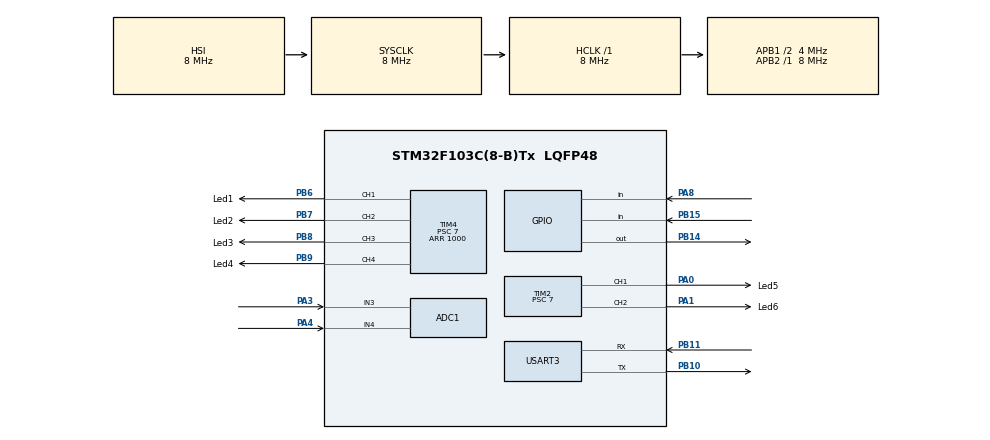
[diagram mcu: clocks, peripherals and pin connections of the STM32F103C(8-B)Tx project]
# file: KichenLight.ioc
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ADC1.Channel-3\#ChannelInjectedConversion=ADC_CHANNEL_3
ADC1.Channel-4\#ChannelInjectedConversion=ADC_CHANNEL_4
ADC1.ContinuousConvMode=DISABLE
ADC1.EnableInjectedConversion=ENABLE
ADC1.EnableRegularConversion=DISABLE
ADC1.InjNumberOfConversion=2
ADC1.InjectedOffset-3\#ChannelInjectedConversion=0
ADC1.InjectedOffset-4\#ChannelInjectedConversion=0
ADC1.InjectedRank-3\#ChannelInjectedConversion=1
ADC1.InjectedRank-4\#ChannelInjectedConversion=2
ADC1.SamplingTime-3\#ChannelInjectedConversion=ADC_SAMPLETIME_28CYCLES_5
ADC1.SamplingTime-4\#ChannelInjectedConversion=ADC_SAMPLETIME_28CYCLES_5
ADC1.master=1
Mcu.Family=STM32F1
Mcu.Name=STM32F103C(8-B)Tx
Mcu.Package=LQFP48
NVIC.ADC1_2_IRQn=true\:0\:0\:false\:false\:true\:true\:true\:true
NVIC.PriorityGroup=NVIC_PRIORITYGROUP_4
NVIC.USART3_IRQn=true\:0\:0\:false\:false\:true\:true\:true\:true
PA0-WKUP.GPIO_Label=Led5
PA0-WKUP.GPIO_Speed=GPIO_SPEED_FREQ_MEDIUM
PA0-WKUP.Signal=S_TIM2_CH1_ETR
PA1.GPIO_Label=Led6
PA1.GPIO_Speed=GPIO_SPEED_FREQ_MEDIUM
PA1.Signal=S_TIM2_CH2
PA13.Mode=Serial_Wire
PA13.Signal=SYS_JTMS-SWDIO
PA14.Mode=Serial_Wire
PA14.Signal=SYS_JTCK-SWCLK
PA3.Signal=ADCx_IN3
PA4.Signal=ADCx_IN4
PA8.Signal=GPIO_Input
PB10.Mode=Asynchronous
PB10.Signal=USART3_TX
PB11.Mode=Asynchronous
PB11.Signal=USART3_RX
PB14.Signal=GPIO_Output
PB15.Signal=GPIO_Input
PB6.GPIO_Label=Led1
PB6.GPIO_Speed=GPIO_SPEED_FREQ_MEDIUM
PB6.Signal=S_TIM4_CH1
PB7.GPIO_Label=Led2
PB7.GPIO_Speed=GPIO_SPEED_FREQ_MEDIUM
PB7.Signal=S_TIM4_CH2
PB8.GPIO_Label=Led3
PB8.GPIO_Speed=GPIO_SPEED_FREQ_MEDIUM
PB8.Signal=S_TIM4_CH3
PB9.GPIO_Label=Led4
PB9.GPIO_Speed=GPIO_SPEED_FREQ_MEDIUM
PB9.Signal=S_TIM4_CH4
ProjectManager.HeapSize=0x200
ProjectManager.StackSize=0x400
ProjectManager.TargetToolchain=MDK-ARM V5.27
RCC.AHBFreq_Value=8000000
RCC.APB1CLKDivider=RCC_HCLK_DIV2
RCC.APB1Freq_Value=4000000
RCC.APB1TimFreq_Value=8000000
RCC.APB2Freq_Value=8000000
RCC.APB2TimFreq_Value=8000000
RCC.HCLKFreq_Value=8000000
RCC.PLLMUL=RCC_PLL_MUL9
RCC.SYSCLKFreq_VALUE=8000000
RCC.USBFreq_Value=36000000
SH.ADCx_IN3.0=ADC1_IN3,IN3
SH.ADCx_IN4.0=ADC1_IN4,IN4
SH.S_TIM2_CH1_ETR.0=TIM2_CH1,PWM Generation1 CH1
SH.S_TIM2_CH2.0=TIM2_CH2,PWM Generation2 CH2
SH.S_TIM4_CH1.0=TIM4_CH1,PWM Generation1 CH1
SH.S_TIM4_CH2.0=TIM4_CH2,PWM Generation2 CH2
SH.S_TIM4_CH3.0=TIM4_CH3,PWM Generation3 CH3
SH.S_TIM4_CH4.0=TIM4_CH4,PWM Generation4 CH4
TIM2.Channel-PWM\ Generation1\ CH1=TIM_CHANNEL_1
TIM2.Channel-PWM\ Generation2\ CH2=TIM_CHANNEL_2
TIM2.Channel-PWM\ Generation4\ CH4=TIM_CHANNEL_4
TIM2.Period=1000
TIM2.Prescaler=7
TIM4.Channel-PWM\ Generation1\ CH1=TIM_CHANNEL_1
TIM4.Channel-PWM\ Generation2\ CH2=TIM_CHANNEL_2
TIM4.Channel-PWM\ Generation3\ CH3=TIM_CHANNEL_3
TIM4.Channel-PWM\ Generation4\ CH4=TIM_CHANNEL_4
TIM4.Period=1000
TIM4.Prescaler=7
USART3.VirtualMode=VM_ASYNC
VP_CRC_VS_CRC.Mode=CRC_Activate
VP_TIM2_VS_ClockSourceINT.Mode=Internal
VP_TIM4_VS_ClockSourceINT.Mode=Internal
board=custom

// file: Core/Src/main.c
/* USER CODE BEGIN Header */
/**
  ******************************************************************************
  * @file           : main.c
  * @brief          : Main program body
  ******************************************************************************
  * @attention
  *
  * <h2><center>&copy; Copyright (c) 2022 STMicroelectronics.
  * All rights reserved.</center></h2>
  *
  * This software component is licensed by ST under BSD 3-Clause license,
  * the "License"; You may not use this file except in compliance with the
  * License. You may obtain a copy of the License at:
  *                        opensource.org/licenses/BSD-3-Clause
  *
  ******************************************************************************
  */
/* USER CODE END Header */
#include "main.h"

/* USER CODE BEGIN Includes */
#include "uart.h"
#include "command.h"
/* USER CODE END Includes */

/* USER CODE BEGIN PTD */
Time_struct						Time;
Led_struct 						Led;
MovSens_struct				MovSens;
//Light_Status_struct		Light_Status;
LuxData_struct				LuxData;

Power_struct Power;			//Статусы питания 220В

char ADC_compl_flag = 0;

/* USER CODE END PTD */

ADC_HandleTypeDef hadc1;

CRC_HandleTypeDef hcrc;

TIM_HandleTypeDef htim2;
TIM_HandleTypeDef htim4;

UART_HandleTypeDef huart3;

/* USER CODE BEGIN PV */
UART_HandleTypeDef *const Used_uart = &huart3;		//Выбор используемого UARTa

volatile uint32_t		ADC_Delay = 1000,
										Charger_LifeTime,
										LuxIntegry_Period = Lux_Data_Period;
uint16_t	Vbat[4] = { vBat_Norm, vBat_Norm, vBat_Norm, 0 },
					Vlsens[3];

//char firstByteWait=1; // признак ожидание первого байта
//uint8_t buf=0;
/* USER CODE END PV */

void SystemClock_Config(void);
static void MX_GPIO_Init(void);
static void MX_TIM4_Init(void);
static void MX_CRC_Init(void);
static void MX_ADC1_Init(void);
static void MX_TIM2_Init(void);
static void MX_USART3_UART_Init(void);

int main(void)
{
  /* USER CODE BEGIN 1 */
	//uint32_t 	i;
	uint8_t		Mode = 0,
						Mode_step = 0;

	uint8_t		ADC_Step = 0;
	uint8_t		MoveSensL = 0, MoveSensL_ = 0,	//Данные с датчиков текущие и предыдущие
						MoveSensR = 0, MoveSensR_ = 0;

	Time.Year = 2023;
	Time.Month = 1;
	Time.Day = 18;
	Time.Hour = 19;

	LuxIntegry_Period = Lux_Data_Period;
	LuxData.Pos = 0;
  /* USER CODE END 1 */

  /* MCU Configuration--------------------------------------------------------*/

  /* Reset of all peripherals, Initializes the Flash interface and the Systick. */
  HAL_Init();

  /* Configure the system clock */
  SystemClock_Config();

  /* Initialize all configured peripherals */
  MX_GPIO_Init();
  MX_TIM4_Init();
  MX_CRC_Init();
  MX_ADC1_Init();
  MX_TIM2_Init();
  MX_USART3_UART_Init();
  /* USER CODE BEGIN 2 */
	HAL_ADCEx_Calibration_Start(&hadc1);

	__HAL_TIM_ENABLE(&htim4);
	TIM_CCxChannelCmd(TIM4,TIM_CHANNEL_1,TIM_CCx_ENABLE);
	TIM_CCxChannelCmd(TIM4,TIM_CHANNEL_2,TIM_CCx_ENABLE);
	TIM_CCxChannelCmd(TIM4,TIM_CHANNEL_3,TIM_CCx_ENABLE);
	TIM_CCxChannelCmd(TIM4,TIM_CHANNEL_4,TIM_CCx_ENABLE);

	__HAL_TIM_ENABLE(&htim2);
	TIM_CCxChannelCmd(TIM2,TIM_CHANNEL_1,TIM_CCx_ENABLE);
	TIM_CCxChannelCmd(TIM2,TIM_CHANNEL_2,TIM_CCx_ENABLE);

	for(uint8_t i=0;i<Led_Ch_Cnt;i++)	//Nнициализация начальных значений яркостей Led
	{
		Led.Channel[i].Bright = 0;
		Led.Channel[i].Target_Bright = 0;
		Led.Channel[i].Step = 10;
		Led.Channel[i].Step_Delay = 25;
		//Led.Channel[i].Day_Bright = Fartuk_Bright_Day;
		//Led.Channel[i].Night_Bright = Fartuk_Bright_Night;
		Led.Channel[i].Delay = 0;
		Set_Led_Bright(i, Led.Channel[i].Bright);
	}

	Power.Status = 0;
	Power.ChangeFlag = 0;
	Power.Consumers = 0;
	Power.ChangeDelay = 0;

	UART_Rx_Start(Used_uart);
  /* USER CODE END 2 */

  /* Infinite loop */
  /* USER CODE BEGIN WHILE */
  while (1)		//~~~~~~~~~~~~~~~~~~~~~~~~~~~~~~~~~~~~~~~~~ Main cycle ~~~~~~~~~~~~~~~~~~~~~~~~~~~~~~~~~~~~~~~~~~~
  {
		//Обработчик часов
		if( Time.Tik ) Clock_Handler();

		//Обработчик UART
		UART_Rx_Handler();							//Обработчик полученного по UART буфера
		UART_Tx_Handler(Used_uart);			//Обработчик отправки кольцевого буфера

		//Запуск исполнителя команд получаемых по UART
		Command_Exec();

		//Обработчик вывода переменных для Debug
		if( Comm_Task & t_Debug )
		{	uint8_t ChangeFind = 0;
			static uint8_t _Mode = 0;
			static uint8_t _MSensL = 0;
			static uint8_t _MSensR = 0;
			static uint8_t _Consumers = 0;
			if( _Mode != Mode ) { _Mode = Mode; ChangeFind = 1; }
			if( _MSensL != MovSens.Channel[1].Detect ) { _MSensL = MovSens.Channel[1].Detect; ChangeFind = 1; }
			if( _MSensR != MovSens.Channel[0].Detect ) { _MSensR = MovSens.Channel[0].Detect; ChangeFind = 1; }
			if( _Consumers != Power.Consumers ) { _Consumers = Power.Consumers; ChangeFind = 1; }
			if( ChangeFind ) Debug_Show( _Mode, _MSensL, _MSensR, _Consumers );
		}

		//Обработчик вывода массива данных освещенности
		if( Comm_Task & t_LuxData_Show )
			if( LuxData_Show(LuxData.Data, Lux_Data_Len, LuxData.Pos) == 0 ) Comm_Task &= (uint32_t) ~t_LuxData_Show;			//Выключаем разовай вывод освещенности

		if( Comm_Task & t_Time_Show )
		{ Comm_Task &= (uint32_t) ~t_Time_Show;			//Выключаем разовый вывод времени
			Time_Show(Time.Year, Time.Month, Time.Day, Time.Hour, Time.Minute, Time.Second);
		}

		if( Comm_Task & t_Time_Set )
		{ Comm_Task &= (uint32_t) ~t_Time_Set;			//Выключаем разовую установку времени
			//if( isValid_DataTime ( ManualTime.Year
			Time_Set(ManualTime.Year, ManualTime.Month, ManualTime.Day, ManualTime.Hour, ManualTime.Minute, ManualTime.Second);
			Comm_Task |= t_Time_Show;									//Включаем разовый показ времени
		}

		//Обработчик изменения яркости Led
		for(uint8_t i=0;i<Led_Ch_Cnt;i++)	{ if( Led.Channel[i].Delay == 0 ) Led.Channel[i].Delay = Led_Prog_Exec(i); }
		//Принудительное изменение яркости по команде от UART
		if( ManualLedSw.Led_Nbr ) { Led.Channel[ ManualLedSw.Led_Nbr-1 ].Target_Bright = ManualLedSw.Value; ManualLedSw.Led_Nbr = 0; }

		//Обработка данных с датчиков -	-	-	-	-	-	-	-	-	-	-	-	-	-	-	-	-	-	-	-	-	-	-	-
		MoveSensL = SensL;	//Считываем состояние портов с датчиков движения
		MoveSensR = SensR;

		if( MoveSensL != MoveSensL_ )		//Если изменилось состояние с датчика
		{ MoveSensL_ = MoveSensL;
			if( MoveSensL == 1 )				//Датчик сработал
			{	MovSens.Channel[0].Detect = 1;
				MovSens.Channel[0].LifeTime = MovSens_Status_ON_Timeout;
			}
			//С момента завершения детекции движения начинаем отсчет LifeTime
			else MovSens.Channel[0].LifeTime = MovSens_Status_OFF_Timeout;
		}

		if(MoveSensR != MoveSensR_)		//Если изменилось состояние с датчика
		{ MoveSensR_ = MoveSensR;
			if( MoveSensR == 1 )				//Датчик сработал
			{	MovSens.Channel[1].Detect = 1;
				MovSens.Channel[1].LifeTime = MovSens_Status_ON_Timeout;
			}
			//С момента завершения детекции движения начинаем отсчет LifeTime
			else MovSens.Channel[1].LifeTime = MovSens_Status_OFF_Timeout;
		}

		//Обработчик сброса статуса срабатывания датчиков движения
		for( uint8_t i=0; i<Mov_Sens_Cnt; i++ )
			if( MovSens.Channel[i].LifeTime == 0 )
				MovSens.Channel[i].Detect >>= 1; //Обнуление
		// 	-	-	-	-	-	-	-	-	-	-	-	-	-	-	-	-	- -	-	-	-	-	-	-	-	-	-	-	-	-	-	-	-	-	-	-	-

		//Обработчик включения/выключения питания 220В - - - - - - - - - - - - - - - -
		if (( Power.Status == 1 )&&( Power.Consumers == 0 )&&( Power.ChangeDelay == 0 ))
		{	//Параметры выключения
			Power.Status = 0;
			Power.ChangeFlag = 1;
			Power.ChangeDelay = Delay_Normal_Power_OFF;
		}

		if (( Power.Status == 0 )&&( Power.Consumers ))
		{	//Параметры включения
			Power.Status = 1;
			Power.ChangeFlag = 1;
			Power.ChangeDelay = 0;
		}

		//Обработчик статуса питания от сети
		if((Power.ChangeFlag == 1)&&( Power.ChangeDelay == 0))
		{	Power.ChangeFlag = 0;
			if(Power.Status == 1)	{ Relay_ON; Power.RelayState = 1; }
			else									{ Relay_OFF; Power.RelayState = 0; }
		} // 	-	-	-	-	-	-	-	-	-	-	-	-	-	-	-	-	- -	-	-	-	-	-	-	-	-	-	-	-	-	-	-	-	-	-	-	-

		//Обработчик АЦП (считывание показаний Напряжения батареи и датчика света)
		if( ADC_Delay == 0 )
		{ switch(ADC_Step)
			{
				case 0:	//Запуск измерения
				{	HAL_ADCEx_InjectedStart_IT(&hadc1);
					ADC_Delay = 10;
					ADC_Step++;
					break;
				}
				case 1:	//Ожидние окончания измерения
				{	static char cntRetry;
					if( ADC_compl_flag )	{ ADC_compl_flag = 0; ADC_Step++;	}
					else
					{
						if(cntRetry++ <= 10)	{ ADC_Delay = 10; }
						else
						{	//Ошибка, не успевыет сделаться преобразования
							cntRetry = 0;
							ADC_Step = 0;
							ADC_Delay = 100;
							HAL_ADCEx_InjectedStop_IT(&hadc1);
						}
					}
					break;
				}
				case 2:	//Измерения готовы
				{ Vbat[3]	= HAL_ADCEx_InjectedGetValue(&hadc1, ADC_INJECTED_RANK_1);
					Vlsens[2] = 	HAL_ADCEx_InjectedGetValue(&hadc1, ADC_INJECTED_RANK_2);
					ADC_Step = 0;
					ADC_Delay = 1990;//60000;
					HAL_ADCEx_InjectedStop_IT(&hadc1);
					//Вывод значений в UART
					if(Comm_Task & t_Vbat_Show) Vbat_Show(Vbat[3]);
					if(Comm_Task & t_Vsolar_Show) Vsolar_Show(Vlsens[2]);
					break;
				}
			}
		} // 	-	-	-	-	-	-	-	-	-	-	-	-	-	-	-	-	- -	-	-	-	-	-	-	-	-	-	-	-	-	-	-	-	-	-	-	-

		//Обработчик контроллера заряда батареи - - - - - - - - - - - - - - - - - - - -
		if( Vbat[3] )
		{	//Вычисляем усредненное значение для Vbat[0], сдвигаем старые значения
			for(uint16_t i=1; i<=3; i++)
			{ Vbat[0] >>= 1;
				Vbat[0] += Vbat[i]>>1;
			}
			Vbat[1] = Vbat[2];
			Vbat[2] = Vbat[3];
			Vbat[3] = 0;

			if( Vbat[0] < vBat_Low )
			{	//Включаем режим заряда батареии
				Power.Consumers |= pc_ChargeBattery;							//Включаем флаг зарядка батареи
				Charger_LifeTime = Charge_Time;
			}

			if( Charger_LifeTime == 0 )
			{ //Выключаем режим заряда батареии
				Power.Consumers &= (uint8_t) ~pc_ChargeBattery;	//Выключаем флаг зарядка батареи
			}
			else if( Vbat[0] >= vBat_High ) Charger_LifeTime = 0;	//Если батарея заряжена ускоряем окончание зарядки
		} // 	-	-	-	-	-	-	-	-	-	-	-	-	-	-	-	-	- -	-	-	-	-	-	-	-	-	-	-	-	-	-	-	-	-	-	-	-

		//Обработчик данных с датчика освещения
		if( Vlsens[2] )
		{	//Вычисляем усредненное значение для Vlsens[0], сдвигаем старые значения
			Vlsens[0] >>= 1;	Vlsens[0] += Vlsens[1]>>1;
			Vlsens[0] >>= 1;	Vlsens[0] += Vlsens[2]>>1;
			Vlsens[1] = Vlsens[2];
			Vlsens[2] = 0;

			LuxHandler(Vlsens[0]);			//Обработчик значений освещенности

			//Обработчик смены режина работы День/Ночь
			if(( Vlsens[0] < vLightSens_Night ) && ( Mode == 1 )) Mode = 2;
			if(( Vlsens[0] > vLightSens_Day ) && ( Mode == 3 ))		Mode = 4;
			if(( Vlsens[0] > vLightSens_Sun ) && ( Mode == 1 ))		Mode = 5;
			if(( Vlsens[0] < (vLightSens_Sun - 100) ) && ( Mode == 5 ))	Mode = 4;

		} // 	-	-	-	-	-	-	-	-	-	-	-	-	-	-	-	-	- -	-	-	-	-	-	-	-	-	-	-	-	-	-	-	-	-	-	-	-

		switch(Mode)
		{
			case 0:		//Start Mode
			{
				switch(Mode_step)
				{ case 0:
					{ Mode_step++;
						Mode_step = 10;
						break;
					}
					case 10:
					{ Mode_step = 0;
						Mode++;
						break;
					}
				}
				break;
			}
			case 1:		//Day Mode
			{	//Фартук = - - -
				if((Power.Consumers & pc_Fartuk) == 0 )			//Если фартук выключен
				{	//Если сработали оба датчика движения - включаем свет на фартуке
					if((MovSens.Channel[0].Detect == 1) && (MovSens.Channel[1].Detect == 1))
					{	Power.Consumers |= pc_Fartuk;							//Включаем флаг фартук
						Led.Channel[0].Target_Bright = Fartuk_Bright_Day;
						Led.Channel[1].Target_Bright = Fartuk_Bright_Day;
						if( Power.Status == 0 ) Led.Channel[0].Delay = Relay_ON_Delay;
						else										Led.Channel[0].Delay = 0;
						Led.Channel[1].Delay = Led.Channel[0].Delay;
					}
				}
				else	//Поддержание работы освещения фартука
				{ if((MovSens.Channel[0].Detect == 0) && (MovSens.Channel[1].Detect == 0))
					{ //Начинаем выключение фартука
						Led.Channel[0].Target_Bright = 0;
						Led.Channel[1].Target_Bright = 0;
						Power.Consumers &= (uint8_t) ~pc_Fartuk;	//Выключаем флаг фартук
					}
				}
				//Подсветка пола = - - -
				if((Power.Consumers & pc_Floor) == 0 )			//Если подсветка пола выключена
				{	//Если сработали оба датчика движения - включаем свет подсветки пола
					if((MovSens.Channel[0].Detect == 1) && (MovSens.Channel[1].Detect == 1))
					{	Power.Consumers |= pc_Floor;						//Включаем флаг подсветки пола
						Led.Channel[2].Target_Bright = Floor_Bright_Day;
						Led.Channel[3].Target_Bright = Floor_Bright_Day;
						if( Power.Status == 0 ) Led.Channel[2].Delay = Relay_ON_Delay;
						else										Led.Channel[2].Delay = 0;
						Led.Channel[3].Delay = Led.Channel[2].Delay;
					}
				}
				else	//Поддержание работы подсветки пола
				{ if((MovSens.Channel[0].Detect == 0) && (MovSens.Channel[1].Detect == 0))
					{ //Начинаем выключение подсветки пола
						Led.Channel[2].Target_Bright = 0;
						Led.Channel[3].Target_Bright = 0;
						Led.Channel[2].Delay = Floor_Off_Delay;
						Led.Channel[3].Delay = Floor_Off_Delay;
						Power.Consumers &= (uint8_t) ~pc_Floor;	//Выключаем флаг подсветки пола
					}
				}
				break;
			}
			case 2:		//Переход в Night Mode
			{ if( Power.Consumers & pc_Fartuk )			//Если фартук включен
				{ Led.Channel[0].Target_Bright = Fartuk_Bright_Night;
					Led.Channel[1].Target_Bright = Fartuk_Bright_Night;
				}
				if( Power.Consumers & pc_Floor )			//Если подсветка пола включена
				{ Led.Channel[2].Target_Bright = Floor_Bright_Night;
					Led.Channel[3].Target_Bright = Floor_Bright_Night;
				}
				Mode++;
				break;
			}
			case 3:		//Night Mode
			{ //Фартук = - - -
				if((Power.Consumers & pc_Fartuk) == 0 )			//Если фартук выключен
				{	//Если сработали оба датчика движения - включаем свет на фартуке
					if((MovSens.Channel[0].Detect == 1) && (MovSens.Channel[1].Detect == 1))
					{	Power.Consumers |= pc_Fartuk;							//Включаем флаг фартук
						Led.Channel[0].Target_Bright = Fartuk_Bright_Night;
						Led.Channel[1].Target_Bright = Fartuk_Bright_Night;
						if( Power.Status == 0 ) Led.Channel[0].Delay = Relay_ON_Delay;
						else										Led.Channel[0].Delay = 0;
						Led.Channel[1].Delay = Led.Channel[0].Delay;
					}
				}
				else	//Поддержание работы освещения фартука
				{ if((MovSens.Channel[0].Detect == 0) && (MovSens.Channel[1].Detect == 0))
					{	//Начинаем выключение фартука
						Led.Channel[0].Target_Bright = 0;
						Led.Channel[1].Target_Bright = 0;
						Power.Consumers &= (uint8_t) ~pc_Fartuk;	//Выключаем флаг фартук
					}
				}
				//Подсветка пола = - - -
				if((Power.Consumers & pc_Floor) == 0 )			//Если подсветка пола выключена
				{	//Если сработали оба датчика движения - включаем свет подсветки пола
					if((MovSens.Channel[0].Detect == 1) && (MovSens.Channel[1].Detect == 1))
					{	Power.Consumers |= pc_Floor;						//Включаем флаг подсветки пола
						Led.Channel[2].Target_Bright = Floor_Bright_Night;
						Led.Channel[3].Target_Bright = Floor_Bright_Night;
						if( Power.Status == 0 ) Led.Channel[2].Delay = Relay_ON_Delay;
						else										Led.Channel[2].Delay = 0;
						Led.Channel[3].Delay = Led.Channel[2].Delay;
					}
				}
				else	//Поддержание работы подсветки пола
				{ if((MovSens.Channel[0].Detect == 0) && (MovSens.Channel[1].Detect == 0))
					{ //Начинаем выключение подсветки пола
						Led.Channel[2].Target_Bright = 0;
						Led.Channel[3].Target_Bright = 0;
						Led.Channel[2].Delay = Floor_Off_Delay;
						Led.Channel[3].Delay = Floor_Off_Delay;
						Power.Consumers &= (uint8_t) ~pc_Floor;	//Выключаем флаг подсветки пола
					}
				}
				break;
			}
			case 4:		//Переход в Day Mode
			{ if( Power.Consumers & pc_Fartuk )			//Если фартук включен
				{
					Led.Channel[0].Target_Bright = Fartuk_Bright_Day;
					Led.Channel[1].Target_Bright = Fartuk_Bright_Day;
				}
				if( Power.Consumers & pc_Floor )			//Если подсветка пола включена
				{
					Led.Channel[2].Target_Bright = Floor_Bright_Day;
					Led.Channel[3].Target_Bright = Floor_Bright_Day;
				}
				Mode = 1;
				break;
			}
			case 5:		//Sun mode
			{ if( Power.Consumers & pc_Fartuk ) 					//Если фартук включен
					if((MovSens.Channel[0].Detect == 0) && (MovSens.Channel[1].Detect == 0))
					{	//Начинаем выключение фартука
						Led.Channel[0].Target_Bright = 0;
						Led.Channel[1].Target_Bright = 0;
						Power.Consumers &= (uint8_t) ~pc_Fartuk;	//Выключаем флаг фартук
					}
				if( Power.Consumers & pc_Floor )						//Если подсветка пола включена
					if((MovSens.Channel[0].Detect == 0) && (MovSens.Channel[1].Detect == 0))
					{	//Начинаем выключение подсветки пола
						Led.Channel[2].Target_Bright = 0;
						Led.Channel[3].Target_Bright = 0;
						Power.Consumers &= (uint8_t) ~pc_Floor;	//Выключаем флаг подсветки пола
					}
				break;
			}
		}

    /* USER CODE END WHILE */

    /* USER CODE BEGIN 3 */
  }		//~~~~~~~~~~~~~~~~~~~~~~~~~~~~~~~~~~~~~~~~~~~~~~~~~~~~~~~~~~~~~~~~~~~~~~~~~~~~~~~~~~~~~~~~~~~~~~~~~~~~~~~~
  /* USER CODE END 3 */
}

void SystemClock_Config(void)
{
  RCC_OscInitTypeDef RCC_OscInitStruct = {0};
  RCC_ClkInitTypeDef RCC_ClkInitStruct = {0};
  RCC_PeriphCLKInitTypeDef PeriphClkInit = {0};

  /** Initializes the RCC Oscillators according to the specified parameters
  * in the RCC_OscInitTypeDef structure.
  */
  RCC_OscInitStruct.OscillatorType = RCC_OSCILLATORTYPE_HSI;
  RCC_OscInitStruct.HSIState = RCC_HSI_ON;
  RCC_OscInitStruct.HSICalibrationValue = RCC_HSICALIBRATION_DEFAULT;
  RCC_OscInitStruct.PLL.PLLState = RCC_PLL_NONE;
  if (HAL_RCC_OscConfig(&RCC_OscInitStruct) != HAL_OK)
  {
    Error_Handler();
  }

  /** Initializes the CPU, AHB and APB buses clocks
  */
  RCC_ClkInitStruct.ClockType = RCC_CLOCKTYPE_HCLK|RCC_CLOCKTYPE_SYSCLK
                              |RCC_CLOCKTYPE_PCLK1|RCC_CLOCKTYPE_PCLK2;
  RCC_ClkInitStruct.SYSCLKSource = RCC_SYSCLKSOURCE_HSI;
  RCC_ClkInitStruct.AHBCLKDivider = RCC_SYSCLK_DIV1;
  RCC_ClkInitStruct.APB1CLKDivider = RCC_HCLK_DIV2;
  RCC_ClkInitStruct.APB2CLKDivider = RCC_HCLK_DIV1;

  if (HAL_RCC_ClockConfig(&RCC_ClkInitStruct, FLASH_LATENCY_0) != HAL_OK)
  {
    Error_Handler();
  }
  PeriphClkInit.PeriphClockSelection = RCC_PERIPHCLK_ADC;
  PeriphClkInit.AdcClockSelection = RCC_ADCPCLK2_DIV2;
  if (HAL_RCCEx_PeriphCLKConfig(&PeriphClkInit) != HAL_OK)
  {
    Error_Handler();
  }
}

static void MX_ADC1_Init(void)
{

  ADC_InjectionConfTypeDef sConfigInjected = {0};

  /** Common config
  */
  hadc1.Instance = ADC1;
  hadc1.Init.ScanConvMode = ADC_SCAN_ENABLE;
  hadc1.Init.ContinuousConvMode = DISABLE;
  hadc1.Init.DiscontinuousConvMode = DISABLE;
  hadc1.Init.ExternalTrigConv = ADC_SOFTWARE_START;
  hadc1.Init.DataAlign = ADC_DATAALIGN_RIGHT;
  hadc1.Init.NbrOfConversion = 2;
  if (HAL_ADC_Init(&hadc1) != HAL_OK)
  {
    Error_Handler();
  }

  /** Configure Injected Channel
  */
  sConfigInjected.InjectedChannel = ADC_CHANNEL_3;
  sConfigInjected.InjectedRank = ADC_INJECTED_RANK_1;
  sConfigInjected.InjectedNbrOfConversion = 2;
  sConfigInjected.InjectedSamplingTime = ADC_SAMPLETIME_28CYCLES_5;
  sConfigInjected.ExternalTrigInjecConv = ADC_INJECTED_SOFTWARE_START;
  sConfigInjected.AutoInjectedConv = DISABLE;
  sConfigInjected.InjectedDiscontinuousConvMode = DISABLE;
  sConfigInjected.InjectedOffset = 0;
  if (HAL_ADCEx_InjectedConfigChannel(&hadc1, &sConfigInjected) != HAL_OK)
  {
    Error_Handler();
  }

  /** Configure Injected Channel
  */
  sConfigInjected.InjectedChannel = ADC_CHANNEL_4;
  sConfigInjected.InjectedRank = ADC_INJECTED_RANK_2;
  if (HAL_ADCEx_InjectedConfigChannel(&hadc1, &sConfigInjected) != HAL_OK)
  {
    Error_Handler();
  }
  /* USER CODE BEGIN ADC1_Init 2 */
	//Добавить в HAL отсутсвующую строку
	//sConfigInjected.InjectedChannel = ADC_CHANNEL_4;
  /* USER CODE END ADC1_Init 2 */

}

static void MX_CRC_Init(void)
{

  hcrc.Instance = CRC;
  if (HAL_CRC_Init(&hcrc) != HAL_OK)
  {
    Error_Handler();
  }

}

static void MX_TIM2_Init(void)
{

  TIM_ClockConfigTypeDef sClockSourceConfig = {0};
  TIM_MasterConfigTypeDef sMasterConfig = {0};
  TIM_OC_InitTypeDef sConfigOC = {0};

  htim2.Instance = TIM2;
  htim2.Init.Prescaler = 7;
  htim2.Init.CounterMode = TIM_COUNTERMODE_UP;
  htim2.Init.Period = 1000;
  htim2.Init.ClockDivision = TIM_CLOCKDIVISION_DIV1;
  htim2.Init.AutoReloadPreload = TIM_AUTORELOAD_PRELOAD_DISABLE;
  if (HAL_TIM_Base_Init(&htim2) != HAL_OK)
  {
    Error_Handler();
  }
  sClockSourceConfig.ClockSource = TIM_CLOCKSOURCE_INTERNAL;
  if (HAL_TIM_ConfigClockSource(&htim2, &sClockSourceConfig) != HAL_OK)
  {
    Error_Handler();
  }
  if (HAL_TIM_PWM_Init(&htim2) != HAL_OK)
  {
    Error_Handler();
  }
  sMasterConfig.MasterOutputTrigger = TIM_TRGO_RESET;
  sMasterConfig.MasterSlaveMode = TIM_MASTERSLAVEMODE_DISABLE;
  if (HAL_TIMEx_MasterConfigSynchronization(&htim2, &sMasterConfig) != HAL_OK)
  {
    Error_Handler();
  }
  sConfigOC.OCMode = TIM_OCMODE_PWM1;
  sConfigOC.Pulse = 0;
  sConfigOC.OCPolarity = TIM_OCPOLARITY_HIGH;
  sConfigOC.OCFastMode = TIM_OCFAST_DISABLE;
  if (HAL_TIM_PWM_ConfigChannel(&htim2, &sConfigOC, TIM_CHANNEL_1) != HAL_OK)
  {
    Error_Handler();
  }
  if (HAL_TIM_PWM_ConfigChannel(&htim2, &sConfigOC, TIM_CHANNEL_2) != HAL_OK)
  {
    Error_Handler();
  }
  HAL_TIM_MspPostInit(&htim2);

}

static void MX_TIM4_Init(void)
{

  TIM_ClockConfigTypeDef sClockSourceConfig = {0};
  TIM_MasterConfigTypeDef sMasterConfig = {0};
  TIM_OC_InitTypeDef sConfigOC = {0};

  htim4.Instance = TIM4;
  htim4.Init.Prescaler = 7;
  htim4.Init.CounterMode = TIM_COUNTERMODE_UP;
  htim4.Init.Period = 1000;
  htim4.Init.ClockDivision = TIM_CLOCKDIVISION_DIV1;
  htim4.Init.AutoReloadPreload = TIM_AUTORELOAD_PRELOAD_DISABLE;
  if (HAL_TIM_Base_Init(&htim4) != HAL_OK)
  {
    Error_Handler();
  }
  sClockSourceConfig.ClockSource = TIM_CLOCKSOURCE_INTERNAL;
  if (HAL_TIM_ConfigClockSource(&htim4, &sClockSourceConfig) != HAL_OK)
  {
    Error_Handler();
  }
  if (HAL_TIM_PWM_Init(&htim4) != HAL_OK)
  {
    Error_Handler();
  }
  sMasterConfig.MasterOutputTrigger = TIM_TRGO_RESET;
  sMasterConfig.MasterSlaveMode = TIM_MASTERSLAVEMODE_DISABLE;
  if (HAL_TIMEx_MasterConfigSynchronization(&htim4, &sMasterConfig) != HAL_OK)
  {
    Error_Handler();
  }
  sConfigOC.OCMode = TIM_OCMODE_PWM1;
  sConfigOC.Pulse = 0;
  sConfigOC.OCPolarity = TIM_OCPOLARITY_HIGH;
  sConfigOC.OCFastMode = TIM_OCFAST_DISABLE;
  if (HAL_TIM_PWM_ConfigChannel(&htim4, &sConfigOC, TIM_CHANNEL_1) != HAL_OK)
  {
    Error_Handler();
  }
  if (HAL_TIM_PWM_ConfigChannel(&htim4, &sConfigOC, TIM_CHANNEL_2) != HAL_OK)
  {
    Error_Handler();
  }
  if (HAL_TIM_PWM_ConfigChannel(&htim4, &sConfigOC, TIM_CHANNEL_3) != HAL_OK)
  {
    Error_Handler();
  }
  if (HAL_TIM_PWM_ConfigChannel(&htim4, &sConfigOC, TIM_CHANNEL_4) != HAL_OK)
  {
    Error_Handler();
  }
  HAL_TIM_MspPostInit(&htim4);

}

static void MX_USART3_UART_Init(void)
{

  huart3.Instance = USART3;
  huart3.Init.BaudRate = 115200;
  huart3.Init.WordLength = UART_WORDLENGTH_8B;
  huart3.Init.StopBits = UART_STOPBITS_1;
  huart3.Init.Parity = UART_PARITY_NONE;
  huart3.Init.Mode = UART_MODE_TX_RX;
  huart3.Init.HwFlowCtl = UART_HWCONTROL_NONE;
  huart3.Init.OverSampling = UART_OVERSAMPLING_16;
  if (HAL_UART_Init(&huart3) != HAL_OK)
  {
    Error_Handler();
  }

}

static void MX_GPIO_Init(void)
{
  GPIO_InitTypeDef GPIO_InitStruct = {0};

  /* GPIO Ports Clock Enable */
  __HAL_RCC_GPIOC_CLK_ENABLE();
  __HAL_RCC_GPIOD_CLK_ENABLE();
  __HAL_RCC_GPIOA_CLK_ENABLE();
  __HAL_RCC_GPIOB_CLK_ENABLE();

  /*Configure GPIO pin Output Level */
  HAL_GPIO_WritePin(GPIOB, GPIO_PIN_14, GPIO_PIN_RESET);

  /*Configure GPIO pins : PC13 PC14 PC15 */
  GPIO_InitStruct.Pin = GPIO_PIN_13|GPIO_PIN_14|GPIO_PIN_15;
  GPIO_InitStruct.Mode = GPIO_MODE_ANALOG;
  HAL_GPIO_Init(GPIOC, &GPIO_InitStruct);

  /*Configure GPIO pins : PD0 PD1 */
  GPIO_InitStruct.Pin = GPIO_PIN_0|GPIO_PIN_1;
  GPIO_InitStruct.Mode = GPIO_MODE_ANALOG;
  HAL_GPIO_Init(GPIOD, &GPIO_InitStruct);

  /*Configure GPIO pins : PA2 PA5 PA6 PA7
                           PA9 PA10 PA11 PA12
                           PA15 */
  GPIO_InitStruct.Pin = GPIO_PIN_2|GPIO_PIN_5|GPIO_PIN_6|GPIO_PIN_7
                          |GPIO_PIN_9|GPIO_PIN_10|GPIO_PIN_11|GPIO_PIN_12
                          |GPIO_PIN_15;
  GPIO_InitStruct.Mode = GPIO_MODE_ANALOG;
  HAL_GPIO_Init(GPIOA, &GPIO_InitStruct);

  /*Configure GPIO pins : PB0 PB1 PB2 PB12
                           PB13 PB3 PB4 PB5 */
  GPIO_InitStruct.Pin = GPIO_PIN_0|GPIO_PIN_1|GPIO_PIN_2|GPIO_PIN_12
                          |GPIO_PIN_13|GPIO_PIN_3|GPIO_PIN_4|GPIO_PIN_5;
  GPIO_InitStruct.Mode = GPIO_MODE_ANALOG;
  HAL_GPIO_Init(GPIOB, &GPIO_InitStruct);

  /*Configure GPIO pin : PB14 */
  GPIO_InitStruct.Pin = GPIO_PIN_14;
  GPIO_InitStruct.Mode = GPIO_MODE_OUTPUT_PP;
  GPIO_InitStruct.Pull = GPIO_NOPULL;
  GPIO_InitStruct.Speed = GPIO_SPEED_FREQ_LOW;
  HAL_GPIO_Init(GPIOB, &GPIO_InitStruct);

  /*Configure GPIO pin : PB15 */
  GPIO_InitStruct.Pin = GPIO_PIN_15;
  GPIO_InitStruct.Mode = GPIO_MODE_INPUT;
  GPIO_InitStruct.Pull = GPIO_NOPULL;
  HAL_GPIO_Init(GPIOB, &GPIO_InitStruct);

  /*Configure GPIO pin : PA8 */
  GPIO_InitStruct.Pin = GPIO_PIN_8;
  GPIO_InitStruct.Mode = GPIO_MODE_INPUT;
  GPIO_InitStruct.Pull = GPIO_NOPULL;
  HAL_GPIO_Init(GPIOA, &GPIO_InitStruct);

  /*Configure peripheral I/O remapping */
  __HAL_AFIO_REMAP_PD01_ENABLE();

}

/* USER CODE BEGIN 4 */
//Обработчик окончания измерения ADC
void HAL_ADCEx_InjectedConvCpltCallback(ADC_HandleTypeDef* hadc)
{ if(hadc->Instance == ADC1) ADC_compl_flag = 1; }

void Set_Led_Bright(char Led_Number, int bright)
{switch(Led_Number)
	{	case 0:	{__HAL_TIM_SetCompare(&htim4,TIM_CHANNEL_1,bright);	break;}	//Led1
		case 1:	{__HAL_TIM_SetCompare(&htim4,TIM_CHANNEL_2,bright);	break;}	//Led2
		case 2:	{__HAL_TIM_SetCompare(&htim4,TIM_CHANNEL_3,bright);	break;}	//Led3
		case 3:	{__HAL_TIM_SetCompare(&htim4,TIM_CHANNEL_4,bright);	break;}	//Led4
		case 4:	{__HAL_TIM_SetCompare(&htim2,TIM_CHANNEL_1,bright);	break;}	//Led5
		case 5:	{__HAL_TIM_SetCompare(&htim2,TIM_CHANNEL_2,bright);	break;}	//Led6
	}
}

uint32_t Led_Prog_Exec(char i)
{	uint32_t a;
	if(Led.Channel[i].Bright != Led.Channel[i].Target_Bright)	//Если целевая яркость не достигнута -----------
	{	//Nзменяем текущую яркость Led
		if( Led.Channel[i].Target_Bright > Led.Channel[i].Bright )
		{	if( (Led.Channel[i].Bright + Led.Channel[i].Step) >= Led.Channel[i].Target_Bright ) Led.Channel[i].Bright = Led.Channel[i].Target_Bright;
			else Led.Channel[i].Bright += Led.Channel[i].Step;
		}
		else
		{	if( Led.Channel[i].Bright <= Led.Channel[i].Step ) Led.Channel[i].Bright = 0;
			else Led.Channel[i].Bright -= Led.Channel[i].Step;
		}
		Set_Led_Bright(i, Led.Channel[i].Bright);
		a = Led.Channel[i].Step_Delay;
	}
	else														//????? ????????? ? ?????????? ???? ????????? ------------------------------
		a = Led.Channel[i].Step_Delay;
	return a;
}

void LuxHandler(uint16_t Lux)		//Обработка значений с датчика света и занесение данных в массив
{	static uint16_t step = 0;

	if(LuxIntegry_Period == 0)
	{	//Если время периода вышло переходим к следующей ячейке
		LuxIntegry_Period = Lux_Data_Period;
		if(++LuxData.Pos == Lux_Data_Len) LuxData.Pos = 0;
		step = 0;
	}
	//Заносим усредненное значение в массив
	if(step == 0) LuxData.Data[LuxData.Pos] = Lux;
	else LuxData.Data[LuxData.Pos] = (int32_t)( LuxData.Data[LuxData.Pos] + Lux ) / 2;
	step++;
}

void Clock_Handler(void)
{
	Time.Tik = 0;
	if( ++Time.Second == 60 )
	{
		Time.Second = 0;
		if( ++Time.Minute == 60 )
		{
			Time.Minute = 0;
			if( ++Time.Hour == 24 )
			{
				Time.Hour = 0;
				if( ++Time.Day == getNumberOfDayInMonth(Time.Month, Time.Year)+1 )
				{
					Time.Day = 1;
					if( ++Time.Month == 13 )
					{
						Time.Month = 1;
						Time.Year++;
					}
					//Корректировка времени в сутки в +
					Time.Second += Time_correction_sec_in_day;
				}
				//Корректировка времени в час в +
				Time.Second += Time_correction_sec_in_hour;
			}
		}
	}
}

//Подсчет количества дней в месяце
int16_t getNumberOfDayInMonth(uint16_t month, uint16_t year)
{
	uint16_t daysInMonth[] = {31, 28, 31, 30, 31, 30, 31, 31, 30, 31, 30, 31};
	uint16_t days = daysInMonth[month-1];
	if( ( month == 2 ) && (isLeapYear(year) == 1 ) ) days++;
	return days;
}

//Проверка года на високосность
char isLeapYear(uint16_t year)
{
	if (year % 400 == 0) return 1;
	if (year % 100 == 0) return 0;
	if (year % 4 == 0) return 1;
	return 0;
}

//Проверка и установка даты и времени
void Time_Set (uint16_t Year, uint16_t Month, uint16_t Day, uint16_t Hour, uint16_t Minute, uint16_t Second )
{
	if(( Year >= 2000 ) && ( Year < 3000 ))
		if( Month <= 12 )
			if( Day <= getNumberOfDayInMonth( Month, Year ) )
				if( Hour < 24 )
					if( Minute < 60 )
						if( Second < 60 )
						{ Time.Year = ManualTime.Year;
							Time.Month = ManualTime.Month;
							Time.Day = ManualTime.Day;
							Time.Hour = ManualTime.Hour;
							Time.Minute = ManualTime.Minute;
							Time.Second = ManualTime.Second;
						}
}

void TimingDelay_Decrement(void)		//Обработчик таймеров каждум 1мс
{ char i;

	for(i=0;i<Led_Ch_Cnt;i++) { if( Led.Channel[i].Delay ) Led.Channel[i].Delay--; }
	for(i=0;i<Mov_Sens_Cnt;i++) { if( MovSens.Channel[i].LifeTime ) MovSens.Channel[i].LifeTime--; }
	if( ADC_Delay ) ADC_Delay--;
	if( Power.ChangeDelay ) Power.ChangeDelay--;
	if( Charger_LifeTime ) Charger_LifeTime--;
	if( LuxIntegry_Period ) LuxIntegry_Period--;
	if( Time.Delay ) Time.Delay--; else { Time.Delay = 1000 + Time_correction_ms_in_sec; Time.Tik = 1; }

	#ifdef DBG_USART
		if( TimingDelay_DBG_Temp ) TimingDelay_DBG_Temp--;
	#endif
}

/* USER CODE END 4 */

void Error_Handler(void)
{
  __disable_irq();
  while (1)
  {
  }
}
